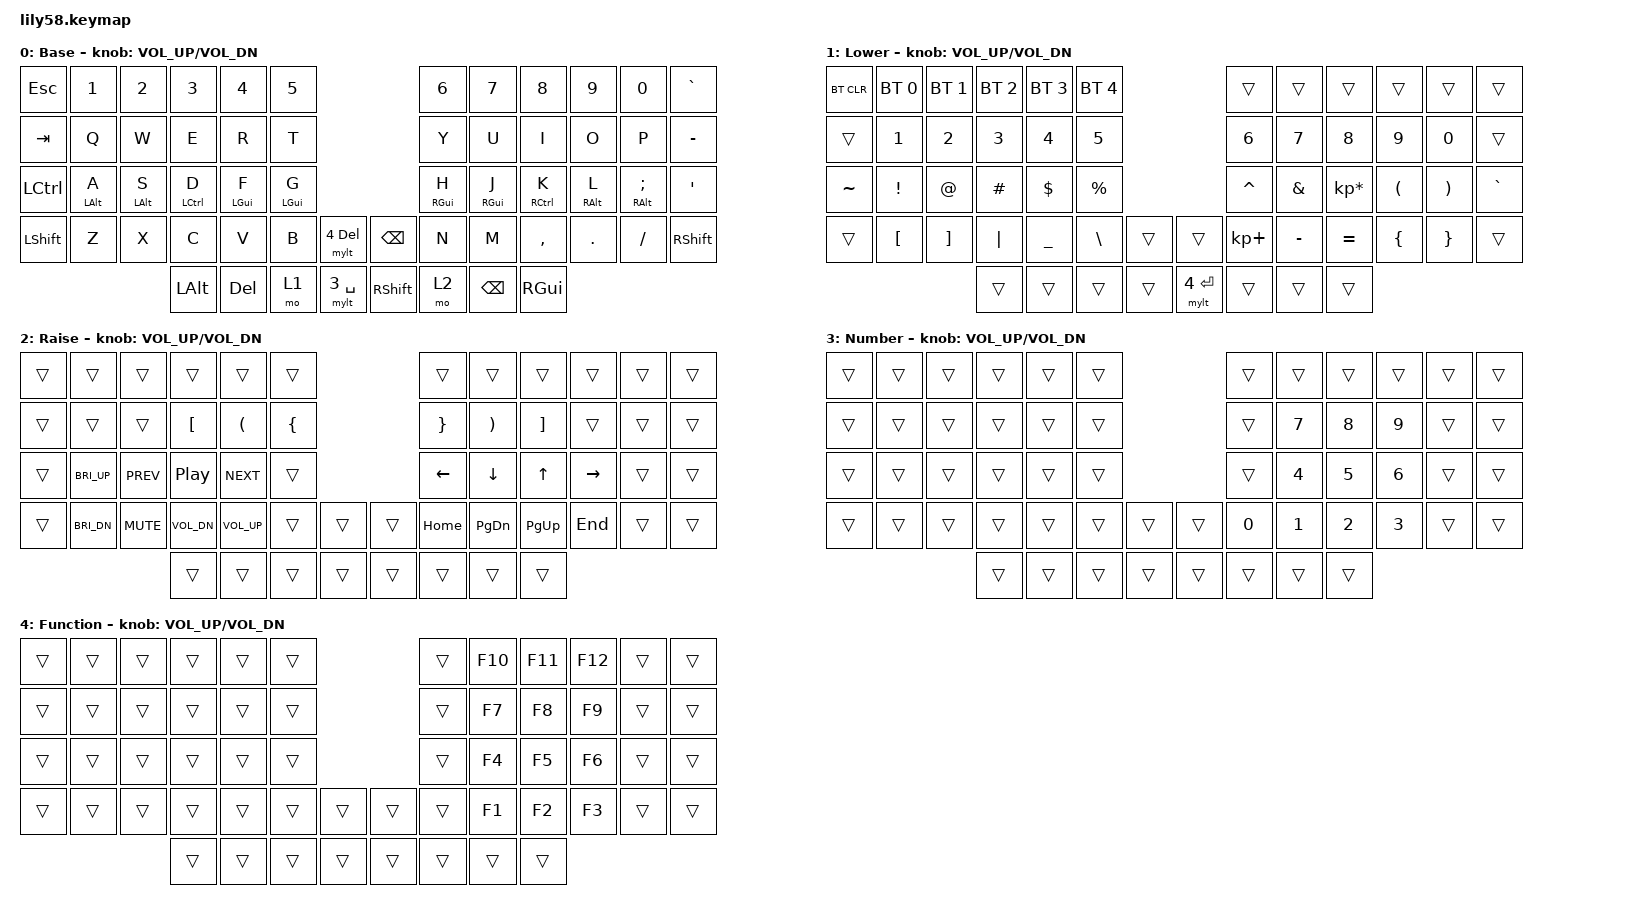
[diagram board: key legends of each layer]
/*
 * Copyright (c) 2020 The ZMK Contributors
 *
 * SPDX-License-Identifier: MIT
 */

#include <behaviors.dtsi>
#include <dt-bindings/zmk/keys.h>
#include <dt-bindings/zmk/bt.h>
#include <dt-bindings/zmk/ext_power.h>
#include "behaviors/homerow_mods.dtsi"

/*                                      58 KEY MATRIX / LAYOUT MAPPING

  ╭────────────────────────────┬────────────────────────────╮
  │  0   1   2   3   4   5     │      6   7   8   9  10  11 │
  │ 12  13  14  15  16  17     │     18  19  20  21  22  23 │
  │ 24  25  26  27  28  29     │     30  31  32  33  34  35 │
  │ 36  37  38  39  40  41  42 │ 43  44  45  46  47  48  49 │
  ╰───────────╮ 50  51  52  53 │ 54  55  56  57 ╭───────────╯
              ╰────────────────┴────────────────╯
*/

#define KEYS_L 0 1 2 3 4 5 12 13 14 15 16 17 24 25 26 27 28 29 36 37 38 39 40 41 42 50 51 52 53
#define KEYS_R 6 7 8 9 10 11 18 19 20 21 22 23 30 31 32 33 34 35 43 44 45 46 47 48 49 54 55 56 57

/ {
    keymap {
        compatible = "zmk,keymap";

        default_layer {
// ------------------------------------------------------------------------------------------------------------
// |  ESC  |  1    |  2    |  3     |  4     |  5   |                         |  6    |  7     |  8     |  9    |   0   |   `   |
// |  TAB  |  Q    |  W    |  E     |  R     |  T   |                         |  Y    |  U     |  I     |  O    |   P   |   -   |
// |  CTRL | ALT A | GUI S | CTRL D | SHFT F | G    |                         | H     | SHFT J | CTRL K | GUI L | ALT ; | '     |
// | SHIFT |  Z    |  X    |  C     |  V     |  B   |      DEL  |  | BSPC     |  N    |  M     |  ,     |  .    |   /   | SHIFT |
//                         | ALT    | DEL    | LOWER| NUM SPACE |  | FN ENTER | RAISE | BSPC   | GUI    |
            display-name = "Base";
            bindings = <
&kp ESC   &kp N1      &kp N2      &kp N3       &kp N4       &kp N5                               &kp N6      &kp N7       &kp N8       &kp N9      &kp N0         &kp GRAVE
&kp TAB   &kp Q       &kp W       &kp E        &kp R        &kp T                                &kp Y       &kp U        &kp I        &kp O       &kp P          &kp MINUS
&kp LCTRL &hml LALT A &hml LALT S &hml LCTRL D &hml LGUI F  &hml LGUI G                          &hml RGUI H &hmr RGUI J &hmr RCTRL K &hmr RALT L &hmr RALT SEMI &kp SQT
&kp LSHFT &kp Z       &kp X       &kp C        &kp V        &kp B  &mylt 4 DEL   &kp BSPC        &kp N       &kp M        &kp COMMA    &kp DOT     &kp FSLH       &kp RSHFT
                                  &kp LALT     &kp DEL      &mo 1  &mylt 3 SPACE &kp RSHIFT      &mo 2       &kp BSPC     &kp RGUI
            >;

            sensor-bindings = <&inc_dec_kp C_VOL_UP C_VOL_DN>;
        };
        lower_layer {
// ------------------------------------------------------------------------------------------------------------
// | BTCLR | BT1 | BT2 |  BT3 |  BT4 |  BT5 |                   |      |       |       |      |       |       |
// |       |  1  |  2  |  3   |  4   |  5   |                   |  6   |   7   |   8   |  9   |   0   |       |
// |   ~   |  !  |  @  |  #   |  $   |  %   |                   |  ^   |  &    |  *    |  (   |   )   |   `   |
// |       |  [  |  ]  |  |   |  _   |  \   |        |  |       |  +   |   -   |   =   |  {   |   }   |       |
//                     |      |      |      |        |  |       |      |       |       |
            display-name = "Lower";
            bindings = <
&bt BT_CLR &bt BT_SEL 0     &bt BT_SEL 1      &bt BT_SEL 2      &bt BT_SEL 3   &bt BT_SEL 4                     &trans      &trans    &trans          &trans    &trans    &trans
&trans     &kp N1           &kp N2            &kp N3            &kp N4         &kp N5                           &kp N6      &kp N7    &kp N8          &kp N9    &kp N0    &trans
&kp TILDE  &kp EXCL         &kp AT            &kp HASH          &kp DOLLAR     &kp PRCNT                        &kp CARET   &kp AMPS  &kp KP_MULTIPLY &kp LPAR  &kp RPAR  &kp GRAVE
&trans     &kp LBKT         &kp RBKT          &kp PIPE          &kp UNDERSCORE &kp BSLH  &trans   &trans        &kp KP_PLUS &kp MINUS &kp EQUAL       &kp LBRC  &kp RBRC  &trans
                                              &trans            &trans         &trans    &trans   &mylt 4 ENTER &trans      &trans    &trans
            >;

            sensor-bindings = <&inc_dec_kp C_VOL_UP C_VOL_DN>;
        };

        raise_layer {
// ------------------------------------------------------------------------------------------------------------
// |     |     |     |      |      |     |                   |      |       |       |      |       |       |
// |     |  F2 |     |   [  |  (   |  {  |                   |  }   |  )    |   ]   |      |       |       |
// |     | BR^ | BACK| PLAY | NEXT |     |                   |   <- |   v   |   ^   |  ->  |       |       |
// |     | BRv | MUTE| VOLv | VOL^ |     |        |  |       | HOME | PG_DN | PG_UP | END  |       |       |
//                   |      |      |     |        |  |       |      |       |       |
            display-name = "Raise";
            bindings = <
&trans    &trans       &trans     &trans            &trans       &trans                      &trans   &trans    &trans    &trans     &trans &trans
&trans    &trans       &trans     &kp LBKT          &kp LPAR     &kp LBRC                    &kp RBRC &kp RPAR  &kp RBKT  &trans     &trans &trans
&trans    &kp C_BRI_UP &kp C_PREV &kp C_PLAY_PAUSE  &kp C_NEXT   &trans                      &kp LEFT &kp DOWN  &kp UP    &kp RIGHT  &trans &trans
&trans    &kp C_BRI_DN &kp C_MUTE &kp C_VOL_DN      &kp C_VOL_UP &trans   &trans   &trans    &kp HOME &kp PG_DN &kp PG_UP &kp END    &trans &trans
                                  &trans            &trans       &trans   &trans   &trans    &trans   &trans    &trans
            >;

            sensor-bindings = <&inc_dec_kp C_VOL_UP C_VOL_DN>;
        };

        number_layer {
// ------------------------------------------------------------------------------------------------------------
// |       |      |      |      |      |      |                   |      |       |       |      |       |       |
// |       |      |      |      |      |      |                   |      |       |       |      |       |       |
// |       |      |      |      |      |      |                   |      |   7   |   8   |  9   |       |       |
// |       |      |      |      |      |      |                   |   0  |   4   |   5   |  6   |       |       |
// |       |      |      |      |      |      |        |  |       |      |   1   |   2   |  3   |       |       |
//                       |      |      |      |        |  |       |      |       |       |
            display-name = "Number";
            bindings = <
&trans    &trans &trans     &trans            &trans       &trans                       &trans      &trans    &trans    &trans    &trans    &trans
&trans    &trans &trans     &trans            &trans       &trans                       &trans      &kp N7    &kp N8    &kp N9    &trans    &trans
&trans    &trans &trans     &trans            &trans       &trans                       &trans      &kp N4    &kp N5    &kp N6    &trans    &trans
&trans    &trans &trans     &trans            &trans       &trans    &trans   &trans    &kp N0      &kp N1    &kp N2    &kp N3    &trans    &trans
                            &trans            &trans       &trans    &trans   &trans    &trans      &trans    &trans
            >;

            sensor-bindings = <&inc_dec_kp C_VOL_UP C_VOL_DN>;
        };

        function_layer {
// ------------------------------------------------------------------------------------------------------------
// |       |      |      |      |      |      |                   |      |       |       |      |       |       |
// |       |      |      |      |      |      |                   |      |  F10  |   F12 |  F13 |       |       |
// |       |      |      |      |      |      |                   |      |  F7   |   F8  |  F9  |       |       |
// |       |      |      |      |      |      |                   |      |  F4   |   F5  |  F6  |       |       |
// |       |      |      |      |      |      |        |  |       |      |  F1   |   F2  |  F3  |       |       |
//                       |      |      |      |        |  |       |      |       |       |
            display-name = "Function";
            bindings = <
&trans    &trans &trans     &trans            &trans       &trans                       &trans      &kp F10   &kp F11   &kp F12   &trans    &trans
&trans    &trans &trans     &trans            &trans       &trans                       &trans      &kp F7    &kp F8    &kp F9    &trans    &trans
&trans    &trans &trans     &trans            &trans       &trans                       &trans      &kp F4    &kp F5    &kp F6    &trans    &trans
&trans    &trans &trans     &trans            &trans       &trans    &trans   &trans    &trans      &kp F1    &kp F2    &kp F3    &trans    &trans
                            &trans            &trans       &trans    &trans   &trans    &trans      &trans    &trans
            >;

            sensor-bindings = <&inc_dec_kp C_VOL_UP C_VOL_DN>;
        };

        extra_3 {
            status = "reserved";
        };
    };
};
